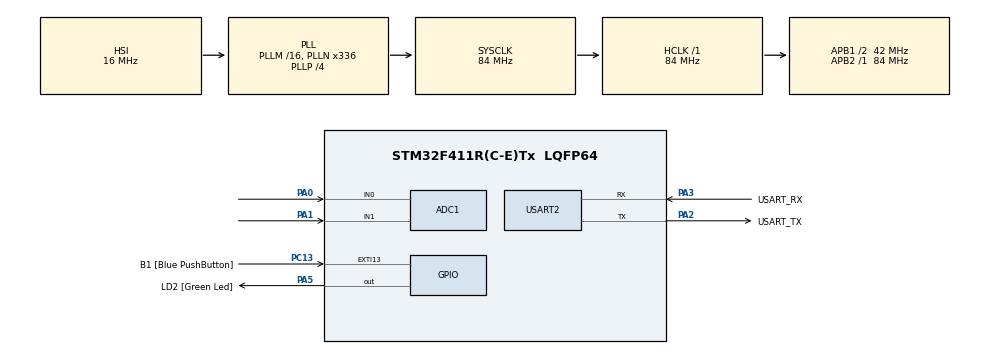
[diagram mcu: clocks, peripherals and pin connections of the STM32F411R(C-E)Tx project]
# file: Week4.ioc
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ADC1.Channel-0\#ChannelRegularConversion=ADC_CHANNEL_0
ADC1.Channel-1\#ChannelRegularConversion=ADC_CHANNEL_1
ADC1.Channel-2\#ChannelRegularConversion=ADC_CHANNEL_TEMPSENSOR
ADC1.Channel-3\#ChannelRegularConversion=ADC_CHANNEL_VREFINT
ADC1.ContinuousConvMode=ENABLE
ADC1.DMAContinuousRequests=ENABLE
ADC1.NbrOfConversion=4
ADC1.NbrOfConversionFlag=1
ADC1.Rank-0\#ChannelRegularConversion=1
ADC1.Rank-1\#ChannelRegularConversion=2
ADC1.Rank-2\#ChannelRegularConversion=3
ADC1.Rank-3\#ChannelRegularConversion=4
ADC1.SamplingTime-0\#ChannelRegularConversion=ADC_SAMPLETIME_480CYCLES
ADC1.SamplingTime-1\#ChannelRegularConversion=ADC_SAMPLETIME_480CYCLES
ADC1.SamplingTime-2\#ChannelRegularConversion=ADC_SAMPLETIME_480CYCLES
ADC1.SamplingTime-3\#ChannelRegularConversion=ADC_SAMPLETIME_480CYCLES
ADC1.master=1
Dma.ADC1.0.Direction=DMA_PERIPH_TO_MEMORY
Dma.ADC1.0.FIFOMode=DMA_FIFOMODE_DISABLE
Dma.ADC1.0.Instance=DMA2_Stream0
Dma.ADC1.0.MemDataAlignment=DMA_MDATAALIGN_WORD
Dma.ADC1.0.MemInc=DMA_MINC_ENABLE
Dma.ADC1.0.Mode=DMA_CIRCULAR
Dma.ADC1.0.PeriphDataAlignment=DMA_PDATAALIGN_WORD
Dma.ADC1.0.PeriphInc=DMA_PINC_DISABLE
Dma.ADC1.0.Priority=DMA_PRIORITY_LOW
Dma.Request0=ADC1
Mcu.Family=STM32F4
Mcu.Name=STM32F411R(C-E)Tx
Mcu.Package=LQFP64
NVIC.DMA2_Stream0_IRQn=true\:0\:0\:false\:false\:true\:false\:true
NVIC.EXTI15_10_IRQn=true\:0\:0\:false\:false\:true\:true\:true
NVIC.PriorityGroup=NVIC_PRIORITYGROUP_0
PA0-WKUP.Signal=ADCx_IN0
PA1.Signal=ADCx_IN1
PA13.GPIO_Label=TMS
PA13.Mode=Serial_Wire
PA13.Signal=SYS_JTMS-SWDIO
PA14.GPIO_Label=TCK
PA14.Mode=Serial_Wire
PA14.Signal=SYS_JTCK-SWCLK
PA2.GPIO_Label=USART_TX
PA2.Mode=Asynchronous
PA2.Signal=USART2_TX
PA3.GPIO_Label=USART_RX
PA3.Mode=Asynchronous
PA3.Signal=USART2_RX
PA5.GPIO_Label=LD2 [Green Led]
PA5.Signal=GPIO_Output
PB3.GPIO_Label=SWO
PB3.Signal=SYS_JTDO-SWO
PC13-ANTI_TAMP.GPIO_Label=B1 [Blue PushButton]
PC13-ANTI_TAMP.GPIO_ModeDefaultEXTI=GPIO_MODE_IT_RISING_FALLING
PC13-ANTI_TAMP.GPIO_PuPd=GPIO_PULLUP
PC13-ANTI_TAMP.Signal=GPXTI13
PC14-OSC32_IN.Mode=LSE-External-Oscillator
PC14-OSC32_IN.Signal=RCC_OSC32_IN
PC15-OSC32_OUT.Mode=LSE-External-Oscillator
PC15-OSC32_OUT.Signal=RCC_OSC32_OUT
PH0\ -\ OSC_IN.Mode=HSE-External-Clock-Source
PH0\ -\ OSC_IN.Signal=RCC_OSC_IN
PH1\ -\ OSC_OUT.Mode=HSE-External-Clock-Source
PH1\ -\ OSC_OUT.Signal=RCC_OSC_OUT
ProjectManager.HeapSize=0x200
ProjectManager.StackSize=0x400
ProjectManager.TargetToolchain=STM32CubeIDE
RCC.48MHZClocksFreq_Value=84000000
RCC.AHBFreq_Value=84000000
RCC.APB1CLKDivider=RCC_HCLK_DIV2
RCC.APB1Freq_Value=42000000
RCC.APB1TimFreq_Value=84000000
RCC.APB2Freq_Value=84000000
RCC.APB2TimFreq_Value=84000000
RCC.CortexFreq_Value=84000000
RCC.FLatency-AdvancedSettings=FLASH_LATENCY_2
RCC.HCLKFreq_Value=84000000
RCC.HSE_VALUE=8000000
RCC.HSI_VALUE=16000000
RCC.PLLN=336
RCC.PLLP=RCC_PLLP_DIV4
RCC.SYSCLKFreq_VALUE=84000000
RCC.SYSCLKSource=RCC_SYSCLKSOURCE_PLLCLK
RCC.VCOOutputFreq_Value=336000000
SH.ADCx_IN0.0=ADC1_IN0,IN0
SH.ADCx_IN1.0=ADC1_IN1,IN1
USART2.VirtualMode=VM_ASYNC
VP_ADC1_TempSens_Input.Mode=IN-TempSens
VP_ADC1_Vref_Input.Mode=IN-Vrefint
board=NUCLEO-F411RE

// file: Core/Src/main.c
/* USER CODE BEGIN Header */
/**
  ******************************************************************************
  * @file           : main.c
  * @brief          : Main program body
  ******************************************************************************
  * @attention
  *
  * <h2><center>&copy; Copyright (c) 2021 STMicroelectronics.
  * All rights reserved.</center></h2>
  *
  * This software component is licensed by ST under BSD 3-Clause license,
  * the "License"; You may not use this file except in compliance with the
  * License. You may obtain a copy of the License at:
  *                        opensource.org/licenses/BSD-3-Clause
  *
  ******************************************************************************
  */
/* USER CODE END Header */
#include "main.h"

ADC_HandleTypeDef hadc1;
DMA_HandleTypeDef hdma_adc1;

UART_HandleTypeDef huart2;

/* USER CODE BEGIN PV */
uint32_t ADCData[4]={0};
uint32_t Timestamp=0;
uint32_t Timestamp2=0;
uint32_t timecollet=0;
uint32_t timeplus=0;
uint8_t Mode=0;
/* USER CODE END PV */

void SystemClock_Config(void);
static void MX_GPIO_Init(void);
static void MX_DMA_Init(void);
static void MX_USART2_UART_Init(void);
static void MX_ADC1_Init(void);

int main(void)
{

  /* MCU Configuration--------------------------------------------------------*/

  /* Reset of all peripherals, Initializes the Flash interface and the Systick. */
  HAL_Init();

  /* Configure the system clock */
  SystemClock_Config();

  /* Initialize all configured peripherals */
  MX_GPIO_Init();
  MX_DMA_Init();
  MX_USART2_UART_Init();
  MX_ADC1_Init();
  /* USER CODE BEGIN 2 */
HAL_ADC_Start_DMA(&hadc1, ADCData, 4);
HAL_GPIO_WritePin(LD2_GPIO_Port, LD2_Pin, 1);
  /* USER CODE END 2 */

  /* Infinite loop */
  /* USER CODE BEGIN WHILE */
  while (1)
  {
		switch(Mode)
		{
		case 10 :
				if (HAL_GetTick()>=Timestamp+timeplus)
					{
						HAL_GPIO_WritePin(LD2_GPIO_Port, LD2_Pin, 1);
						Timestamp2=HAL_GetTick();
						Mode=1;
		        	}
				break;
		}

    /* USER CODE END WHILE */

  }
}

void SystemClock_Config(void)
{
  RCC_OscInitTypeDef RCC_OscInitStruct = {0};
  RCC_ClkInitTypeDef RCC_ClkInitStruct = {0};

  /** Configure the main internal regulator output voltage
  */
  __HAL_RCC_PWR_CLK_ENABLE();
  __HAL_PWR_VOLTAGESCALING_CONFIG(PWR_REGULATOR_VOLTAGE_SCALE1);
  /** Initializes the RCC Oscillators according to the specified parameters
  * in the RCC_OscInitTypeDef structure.
  */
  RCC_OscInitStruct.OscillatorType = RCC_OSCILLATORTYPE_HSI;
  RCC_OscInitStruct.HSIState = RCC_HSI_ON;
  RCC_OscInitStruct.HSICalibrationValue = RCC_HSICALIBRATION_DEFAULT;
  RCC_OscInitStruct.PLL.PLLState = RCC_PLL_ON;
  RCC_OscInitStruct.PLL.PLLSource = RCC_PLLSOURCE_HSI;
  RCC_OscInitStruct.PLL.PLLM = 16;
  RCC_OscInitStruct.PLL.PLLN = 336;
  RCC_OscInitStruct.PLL.PLLP = RCC_PLLP_DIV4;
  RCC_OscInitStruct.PLL.PLLQ = 4;
  if (HAL_RCC_OscConfig(&RCC_OscInitStruct) != HAL_OK)
  {
    Error_Handler();
  }
  /** Initializes the CPU, AHB and APB buses clocks
  */
  RCC_ClkInitStruct.ClockType = RCC_CLOCKTYPE_HCLK|RCC_CLOCKTYPE_SYSCLK
                              |RCC_CLOCKTYPE_PCLK1|RCC_CLOCKTYPE_PCLK2;
  RCC_ClkInitStruct.SYSCLKSource = RCC_SYSCLKSOURCE_PLLCLK;
  RCC_ClkInitStruct.AHBCLKDivider = RCC_SYSCLK_DIV1;
  RCC_ClkInitStruct.APB1CLKDivider = RCC_HCLK_DIV2;
  RCC_ClkInitStruct.APB2CLKDivider = RCC_HCLK_DIV1;

  if (HAL_RCC_ClockConfig(&RCC_ClkInitStruct, FLASH_LATENCY_2) != HAL_OK)
  {
    Error_Handler();
  }
}

static void MX_ADC1_Init(void)
{

  ADC_ChannelConfTypeDef sConfig = {0};

  /** Configure the global features of the ADC (Clock, Resolution, Data Alignment and number of conversion)
  */
  hadc1.Instance = ADC1;
  hadc1.Init.ClockPrescaler = ADC_CLOCK_SYNC_PCLK_DIV4;
  hadc1.Init.Resolution = ADC_RESOLUTION_12B;
  hadc1.Init.ScanConvMode = ENABLE;
  hadc1.Init.ContinuousConvMode = ENABLE;
  hadc1.Init.DiscontinuousConvMode = DISABLE;
  hadc1.Init.ExternalTrigConvEdge = ADC_EXTERNALTRIGCONVEDGE_NONE;
  hadc1.Init.ExternalTrigConv = ADC_SOFTWARE_START;
  hadc1.Init.DataAlign = ADC_DATAALIGN_RIGHT;
  hadc1.Init.NbrOfConversion = 4;
  hadc1.Init.DMAContinuousRequests = ENABLE;
  hadc1.Init.EOCSelection = ADC_EOC_SINGLE_CONV;
  if (HAL_ADC_Init(&hadc1) != HAL_OK)
  {
    Error_Handler();
  }
  /** Configure for the selected ADC regular channel its corresponding rank in the sequencer and its sample time.
  */
  sConfig.Channel = ADC_CHANNEL_0;
  sConfig.Rank = 1;
  sConfig.SamplingTime = ADC_SAMPLETIME_480CYCLES;
  if (HAL_ADC_ConfigChannel(&hadc1, &sConfig) != HAL_OK)
  {
    Error_Handler();
  }
  /** Configure for the selected ADC regular channel its corresponding rank in the sequencer and its sample time.
  */
  sConfig.Channel = ADC_CHANNEL_1;
  sConfig.Rank = 2;
  if (HAL_ADC_ConfigChannel(&hadc1, &sConfig) != HAL_OK)
  {
    Error_Handler();
  }
  /** Configure for the selected ADC regular channel its corresponding rank in the sequencer and its sample time.
  */
  sConfig.Channel = ADC_CHANNEL_TEMPSENSOR;
  sConfig.Rank = 3;
  if (HAL_ADC_ConfigChannel(&hadc1, &sConfig) != HAL_OK)
  {
    Error_Handler();
  }
  /** Configure for the selected ADC regular channel its corresponding rank in the sequencer and its sample time.
  */
  sConfig.Channel = ADC_CHANNEL_VREFINT;
  sConfig.Rank = 4;
  if (HAL_ADC_ConfigChannel(&hadc1, &sConfig) != HAL_OK)
  {
    Error_Handler();
  }

}

static void MX_USART2_UART_Init(void)
{

  huart2.Instance = USART2;
  huart2.Init.BaudRate = 115200;
  huart2.Init.WordLength = UART_WORDLENGTH_8B;
  huart2.Init.StopBits = UART_STOPBITS_1;
  huart2.Init.Parity = UART_PARITY_NONE;
  huart2.Init.Mode = UART_MODE_TX_RX;
  huart2.Init.HwFlowCtl = UART_HWCONTROL_NONE;
  huart2.Init.OverSampling = UART_OVERSAMPLING_16;
  if (HAL_UART_Init(&huart2) != HAL_OK)
  {
    Error_Handler();
  }

}

static void MX_DMA_Init(void)
{

  /* DMA controller clock enable */
  __HAL_RCC_DMA2_CLK_ENABLE();

  /* DMA interrupt init */
  /* DMA2_Stream0_IRQn interrupt configuration */
  HAL_NVIC_SetPriority(DMA2_Stream0_IRQn, 0, 0);
  HAL_NVIC_EnableIRQ(DMA2_Stream0_IRQn);

}

static void MX_GPIO_Init(void)
{
  GPIO_InitTypeDef GPIO_InitStruct = {0};

  /* GPIO Ports Clock Enable */
  __HAL_RCC_GPIOC_CLK_ENABLE();
  __HAL_RCC_GPIOH_CLK_ENABLE();
  __HAL_RCC_GPIOA_CLK_ENABLE();
  __HAL_RCC_GPIOB_CLK_ENABLE();

  /*Configure GPIO pin Output Level */
  HAL_GPIO_WritePin(LD2_GPIO_Port, LD2_Pin, GPIO_PIN_RESET);

  /*Configure GPIO pin : B1_Pin */
  GPIO_InitStruct.Pin = B1_Pin;
  GPIO_InitStruct.Mode = GPIO_MODE_IT_RISING_FALLING;
  GPIO_InitStruct.Pull = GPIO_PULLUP;
  HAL_GPIO_Init(B1_GPIO_Port, &GPIO_InitStruct);

  /*Configure GPIO pin : LD2_Pin */
  GPIO_InitStruct.Pin = LD2_Pin;
  GPIO_InitStruct.Mode = GPIO_MODE_OUTPUT_PP;
  GPIO_InitStruct.Pull = GPIO_NOPULL;
  GPIO_InitStruct.Speed = GPIO_SPEED_FREQ_LOW;
  HAL_GPIO_Init(LD2_GPIO_Port, &GPIO_InitStruct);

  /* EXTI interrupt init*/
  HAL_NVIC_SetPriority(EXTI15_10_IRQn, 0, 0);
  HAL_NVIC_EnableIRQ(EXTI15_10_IRQn);

}

/* USER CODE BEGIN 4 */
void HAL_GPIO_EXTI_Callback(uint16_t GPIO_Pin)
{

	if (GPIO_Pin == GPIO_PIN_13)
	{	if (Mode ==10 )
		{
		HAL_GPIO_TogglePin(LD2_GPIO_Port, LD2_Pin);
		Mode=0;
		}
		else if (Mode==1)
		{
		timecollet=HAL_GetTick()-Timestamp2;
		Mode=0;
		}
		else
		{
		timeplus=1000+(((22695477*ADCData[0])+ADCData[1])%10000);
		Timestamp = HAL_GetTick();
		HAL_GPIO_TogglePin(LD2_GPIO_Port, LD2_Pin);
		Mode=10;
		}

	}

}
/* USER CODE END 4 */

void Error_Handler(void)
{
  __disable_irq();
  while (1)
  {
  }
}

/************************ (C) COPYRIGHT STMicroelectronics *****END OF FILE****/
